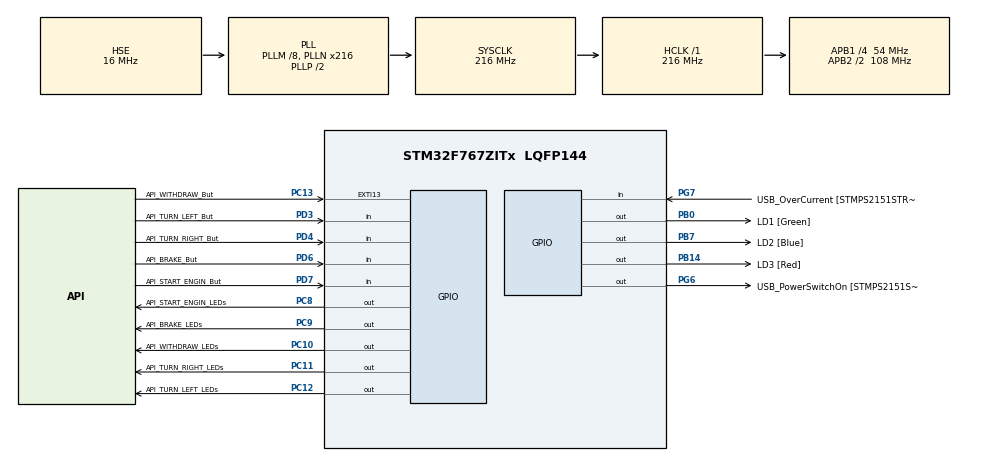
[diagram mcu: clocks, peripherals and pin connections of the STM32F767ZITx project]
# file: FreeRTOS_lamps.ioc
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FREERTOS.Tasks01=defaultTask,24,128,StartDefaultTask,Default,NULL,Dynamic,NULL,NULL;API_START_ENGIN,24,128,StartAPI_START_ENGIN,Default,NULL,Dynamic,NULL,NULL;API_BRAKE,24,128,StartAPI_BRAKE,Default,NULL,Dynamic,NULL,NULL;API_WITHDRAW,24,128,StartAPI_WITHDRAW,Default,NULL,Dynamic,NULL,NULL;API_TURN_LEFT,24,128,StartAPI_TURN_LEFT,Default,NULL,Dynamic,NULL,NULL;API_TURN_RIGHT,24,128,StartAPI_TURN_RIGHT,Default,NULL,Dynamic,NULL,NULL
FREERTOS.configUSE_NEWLIB_REENTRANT=1
Mcu.Family=STM32F7
Mcu.Name=STM32F767ZITx
Mcu.Package=LQFP144
NVIC.PriorityGroup=NVIC_PRIORITYGROUP_4
NVIC.TIM6_DAC_IRQn=true\:15\:0\:false\:false\:true\:false\:false\:true\:true
NVIC.TimeBase=TIM6_DAC_IRQn
NVIC.TimeBaseIP=TIM6
PA1.GPIO_Label=RMII_REF_CLK [LAN8742A-CZ-TR_REFCLK0]
PA1.Signal=ETH_REF_CLK
PA10.GPIO_Label=USB_ID
PA10.Signal=USB_OTG_FS_ID
PA11.GPIO_Label=USB_DM
PA11.Signal=USB_OTG_FS_DM
PA12.GPIO_Label=USB_DP
PA12.Signal=USB_OTG_FS_DP
PA13.GPIO_Label=TMS
PA13.Signal=SYS_JTMS-SWDIO
PA14.GPIO_Label=TCK
PA14.Signal=SYS_JTCK-SWCLK
PA2.GPIO_Label=RMII_MDIO [LAN8742A-CZ-TR_MDIO]
PA2.Signal=ETH_MDIO
PA7.GPIO_Label=RMII_CRS_DV [LAN8742A-CZ-TR_CRS_DV]
PA7.Signal=ETH_CRS_DV
PA8.GPIO_Label=USB_SOF [TP1]
PA8.Signal=USB_OTG_FS_SOF
PA9.GPIO_Label=USB_VBUS
PA9.Signal=USB_OTG_FS_VBUS
PB0.GPIO_Label=LD1 [Green]
PB0.Signal=GPIO_Output
PB13.GPIO_Label=RMII_TXD1 [LAN8742A-CZ-TR_TXD1]
PB13.Signal=ETH_TXD1
PB14.GPIO_Label=LD3 [Red]
PB14.Signal=GPIO_Output
PB3.GPIO_Label=SW0
PB3.Signal=SYS_JTDO-SWO
PB7.GPIO_Label=LD2 [Blue]
PB7.Signal=GPIO_Output
PC1.GPIO_Label=RMII_MDC [LAN8742A-CZ-TR_MDC]
PC1.Signal=ETH_MDC
PC10.GPIO_Label=API_WITHDRAW_LEDs
PC10.Signal=GPIO_Output
PC11.GPIO_Label=API_TURN_RIGHT_LEDs
PC11.Signal=GPIO_Output
PC12.GPIO_Label=API_TURN_LEFT_LEDs
PC12.Signal=GPIO_Output
PC13.GPIO_Label=API_WITHDRAW_But
PC13.Signal=GPXTI13
PC14/OSC32_IN.Signal=RCC_OSC32_IN
PC15/OSC32_OUT.Signal=RCC_OSC32_OUT
PC4.GPIO_Label=RMII_RXD0 [LAN8742A-CZ-TR_RXD0]
PC4.Signal=ETH_RXD0
PC5.GPIO_Label=RMII_RXD1 [LAN8742A-CZ-TR_RXD1]
PC5.Signal=ETH_RXD1
PC8.GPIO_Label=API_START_ENGIN_LEDs
PC8.Signal=GPIO_Output
PC9.GPIO_Label=API_BRAKE_LEDs
PC9.Signal=GPIO_Output
PD3.GPIO_Label=API_TURN_LEFT_But
PD3.Signal=GPIO_Input
PD4.GPIO_Label=API_TURN_RIGHT_But
PD4.Signal=GPIO_Input
PD6.GPIO_Label=API_BRAKE_But
PD6.Signal=GPIO_Input
PD7.GPIO_Label=API_START_ENGIN_But
PD7.Signal=GPIO_Input
PD8.GPIO_Label=STLK_RX [STM32F103CBT6_PA3]
PD8.Signal=USART3_TX
PD9.GPIO_Label=STLK_TX [STM32F103CBT6_PA2]
PD9.Signal=USART3_RX
PG11.GPIO_Label=RMII_TX_EN [LAN8742A-CZ-TR_TXEN]
PG11.Signal=ETH_TX_EN
PG13.GPIO_Label=RMII_TXD0 [LAN8742A-CZ-TR_TXD0]
PG13.Signal=ETH_TXD0
PG6.GPIO_Label=USB_PowerSwitchOn [STMPS2151STR_EN]
PG6.Signal=GPIO_Output
PG7.GPIO_Label=USB_OverCurrent [STMPS2151STR_FAULT]
PG7.Signal=GPIO_Input
PH0/OSC_IN.GPIO_Label=MCO [STM32F103CBT6_PA8]
PH0/OSC_IN.Mode=HSE-External-Oscillator
PH0/OSC_IN.Signal=RCC_OSC_IN
PH1/OSC_OUT.Mode=HSE-External-Oscillator
PH1/OSC_OUT.Signal=RCC_OSC_OUT
ProjectManager.HeapSize=0x200
ProjectManager.StackSize=0x400
ProjectManager.TargetToolchain=STM32CubeIDE
RCC.48MHZClocksFreq_Value=24000000
RCC.AHBFreq_Value=216000000
RCC.APB1CLKDivider=RCC_HCLK_DIV4
RCC.APB1Freq_Value=54000000
RCC.APB1TimFreq_Value=108000000
RCC.APB2CLKDivider=RCC_HCLK_DIV2
RCC.APB2Freq_Value=108000000
RCC.APB2TimFreq_Value=216000000
RCC.CortexFreq_Value=216000000
RCC.HCLKFreq_Value=216000000
RCC.HSE_VALUE=16000000
RCC.HSI_VALUE=16000000
RCC.LSE_VALUE=32768
RCC.PLLM=8
RCC.PLLMUL=RCC_PLL_MUL9
RCC.PLLN=216
RCC.PLLSourceVirtual=RCC_PLLSOURCE_HSE
RCC.PRESCALERUSB=RCC_USBCLKSOURCE_PLL_DIV1_5
RCC.SYSCLKFreq_VALUE=216000000
RCC.SYSCLKSource=RCC_SYSCLKSOURCE_PLLCLK
RCC.SYSCLKSourceVirtual=RCC_SYSCLKSOURCE_PLLCLK
RCC.USBFreq_Value=216000000
RCC.VCOOutputFreq_Value=432000000
VP_FREERTOS_VS_CMSIS_V2.Mode=CMSIS_V2
VP_SYS_VS_tim6.Mode=TIM6
board=NUCLEO-F767ZI

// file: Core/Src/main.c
/* USER CODE BEGIN Header */
/**
  ******************************************************************************
  * @file           : main.c
  * @brief          : Main program body
  ******************************************************************************
  * @attention
  *
  * Copyright (c) 2023 STMicroelectronics.
  * All rights reserved.
  *
  * This software is licensed under terms that can be found in the LICENSE file
  * in the root directory of this software component.
  * If no LICENSE file comes with this software, it is provided AS-IS.
  *
  ******************************************************************************
  */
/* USER CODE END Header */
#include "main.h"
#include "cmsis_os.h"
#include "gpio.h"

void SystemClock_Config(void);
void MX_FREERTOS_Init(void);

int main(void)
{

  /* MCU Configuration--------------------------------------------------------*/

  /* Reset of all peripherals, Initializes the Flash interface and the Systick. */
  HAL_Init();

  /* Configure the system clock */
  SystemClock_Config();

  /* Initialize all configured peripherals */
  MX_GPIO_Init();

  /* Init scheduler */
  osKernelInitialize();  /* Call init function for freertos objects (in freertos.c) */
  MX_FREERTOS_Init();

  /* Start scheduler */
  osKernelStart();

  /* We should never get here as control is now taken by the scheduler */
  /* Infinite loop */
  while (1)
  {

  }
}

void SystemClock_Config(void)
{
  RCC_OscInitTypeDef RCC_OscInitStruct = {0};
  RCC_ClkInitTypeDef RCC_ClkInitStruct = {0};

  /** Configure the main internal regulator output voltage
  */
  __HAL_RCC_PWR_CLK_ENABLE();
  __HAL_PWR_VOLTAGESCALING_CONFIG(PWR_REGULATOR_VOLTAGE_SCALE1);

  /** Initializes the RCC Oscillators according to the specified parameters
  * in the RCC_OscInitTypeDef structure.
  */
  RCC_OscInitStruct.OscillatorType = RCC_OSCILLATORTYPE_HSE;
  RCC_OscInitStruct.HSEState = RCC_HSE_ON;
  RCC_OscInitStruct.PLL.PLLState = RCC_PLL_ON;
  RCC_OscInitStruct.PLL.PLLSource = RCC_PLLSOURCE_HSE;
  RCC_OscInitStruct.PLL.PLLM = 8;
  RCC_OscInitStruct.PLL.PLLN = 216;
  RCC_OscInitStruct.PLL.PLLP = RCC_PLLP_DIV2;
  RCC_OscInitStruct.PLL.PLLQ = 2;
  RCC_OscInitStruct.PLL.PLLR = 2;
  if (HAL_RCC_OscConfig(&RCC_OscInitStruct) != HAL_OK)
  {
    Error_Handler();
  }

  /** Activate the Over-Drive mode
  */
  if (HAL_PWREx_EnableOverDrive() != HAL_OK)
  {
    Error_Handler();
  }

  /** Initializes the CPU, AHB and APB buses clocks
  */
  RCC_ClkInitStruct.ClockType = RCC_CLOCKTYPE_HCLK|RCC_CLOCKTYPE_SYSCLK
                              |RCC_CLOCKTYPE_PCLK1|RCC_CLOCKTYPE_PCLK2;
  RCC_ClkInitStruct.SYSCLKSource = RCC_SYSCLKSOURCE_PLLCLK;
  RCC_ClkInitStruct.AHBCLKDivider = RCC_SYSCLK_DIV1;
  RCC_ClkInitStruct.APB1CLKDivider = RCC_HCLK_DIV4;
  RCC_ClkInitStruct.APB2CLKDivider = RCC_HCLK_DIV2;

  if (HAL_RCC_ClockConfig(&RCC_ClkInitStruct, FLASH_LATENCY_7) != HAL_OK)
  {
    Error_Handler();
  }
}

void HAL_TIM_PeriodElapsedCallback(TIM_HandleTypeDef *htim)
{
  if (htim->Instance == TIM6) {
    HAL_IncTick();
  }
}

void Error_Handler(void)
{
  __disable_irq();
  while (1)
  {
  }
}

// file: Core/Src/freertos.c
/* USER CODE BEGIN Header */
/**
  ******************************************************************************
  * File Name          : freertos.c
  * Description        : Code for freertos applications
  ******************************************************************************
  * @attention
  *
  * Copyright (c) 2023 STMicroelectronics.
  * All rights reserved.
  *
  * This software is licensed under terms that can be found in the LICENSE file
  * in the root directory of this software component.
  * If no LICENSE file comes with this software, it is provided AS-IS.
  *
  ******************************************************************************
  */
/* USER CODE END Header */

#include "FreeRTOS.h"
#include "task.h"
#include "main.h"
#include "cmsis_os.h"

/* USER CODE BEGIN Variables */
GPIO_PinState API_START_ENGIN_ButtonStateCurrent;
GPIO_PinState API_START_ENGIN_ButtonStateLast = GPIO_PIN_RESET;

GPIO_PinState API_BRAKE_ButtonStateCurrent;
GPIO_PinState API_BRAKE_ButtonStateLast = GPIO_PIN_RESET;

GPIO_PinState API_WITHDRAW_ButtonStateCurrent;
GPIO_PinState API_WITHDRAW_ButtonStateLast = GPIO_PIN_RESET;

GPIO_PinState API_TURN_RIGHT_ButtonStateCurrent;
GPIO_PinState API_TURN_RIGHT_ButtonStateLast = GPIO_PIN_RESET;

GPIO_PinState API_TURN_LEFT_ButtonStateCurrent;
GPIO_PinState API_TURN_LEFT_ButtonStateLast = GPIO_PIN_RESET;

/* USER CODE END Variables */
/* Definitions for defaultTask */
osThreadId_t defaultTaskHandle;
const osThreadAttr_t defaultTask_attributes = {
  .name = "defaultTask",
  .stack_size = 128 * 4,
  .priority = (osPriority_t) osPriorityNormal,
};
/* Definitions for API_START_ENGIN */
osThreadId_t API_START_ENGINHandle;
const osThreadAttr_t API_START_ENGIN_attributes = {
  .name = "API_START_ENGIN",
  .stack_size = 128 * 4,
  .priority = (osPriority_t) osPriorityNormal,
};
/* Definitions for API_BRAKE */
osThreadId_t API_BRAKEHandle;
const osThreadAttr_t API_BRAKE_attributes = {
  .name = "API_BRAKE",
  .stack_size = 128 * 4,
  .priority = (osPriority_t) osPriorityNormal,
};
/* Definitions for API_WITHDRAW */
osThreadId_t API_WITHDRAWHandle;
const osThreadAttr_t API_WITHDRAW_attributes = {
  .name = "API_WITHDRAW",
  .stack_size = 128 * 4,
  .priority = (osPriority_t) osPriorityNormal,
};
/* Definitions for API_TURN_LEFT */
osThreadId_t API_TURN_LEFTHandle;
const osThreadAttr_t API_TURN_LEFT_attributes = {
  .name = "API_TURN_LEFT",
  .stack_size = 128 * 4,
  .priority = (osPriority_t) osPriorityNormal,
};
/* Definitions for API_TURN_RIGHT */
osThreadId_t API_TURN_RIGHTHandle;
const osThreadAttr_t API_TURN_RIGHT_attributes = {
  .name = "API_TURN_RIGHT",
  .stack_size = 128 * 4,
  .priority = (osPriority_t) osPriorityNormal,
};

void StartDefaultTask(void *argument);
void StartAPI_START_ENGIN(void *argument);
void StartAPI_BRAKE(void *argument);
void StartAPI_WITHDRAW(void *argument);
void StartAPI_TURN_LEFT(void *argument);
void StartAPI_TURN_RIGHT(void *argument);

void MX_FREERTOS_Init(void); /* (MISRA C 2004 rule 8.1) */

void MX_FREERTOS_Init(void) {

  /* Create the thread(s) */
  /* creation of defaultTask */
  defaultTaskHandle = osThreadNew(StartDefaultTask, NULL, &defaultTask_attributes);

  /* creation of API_START_ENGIN */
  API_START_ENGINHandle = osThreadNew(StartAPI_START_ENGIN, NULL, &API_START_ENGIN_attributes);

  /* creation of API_BRAKE */
  API_BRAKEHandle = osThreadNew(StartAPI_BRAKE, NULL, &API_BRAKE_attributes);

  /* creation of API_WITHDRAW */
  API_WITHDRAWHandle = osThreadNew(StartAPI_WITHDRAW, NULL, &API_WITHDRAW_attributes);

  /* creation of API_TURN_LEFT */
  API_TURN_LEFTHandle = osThreadNew(StartAPI_TURN_LEFT, NULL, &API_TURN_LEFT_attributes);

  /* creation of API_TURN_RIGHT */
  API_TURN_RIGHTHandle = osThreadNew(StartAPI_TURN_RIGHT, NULL, &API_TURN_RIGHT_attributes);

}

void StartDefaultTask(void *argument)
{
  for(;;)
  {
    osDelay(1);
  }
}

void StartAPI_START_ENGIN(void *argument)
{
  /* USER CODE BEGIN StartAPI_START_ENGIN */
  /* Infinite loop */
  for(;;)
  {
	  API_START_ENGIN_ButtonStateCurrent = HAL_GPIO_ReadPin(API_START_ENGIN_But_GPIO_Port, API_START_ENGIN_But_Pin);
	  if(API_START_ENGIN_ButtonStateCurrent != API_START_ENGIN_ButtonStateLast)
	  {
		  HAL_GPIO_TogglePin(API_START_ENGIN_LEDs_GPIO_Port, API_START_ENGIN_LEDs_Pin);
		  osDelay(100);
	  }
  }
  /* USER CODE END StartAPI_START_ENGIN */
}

void StartAPI_BRAKE(void *argument)
{
  /* USER CODE BEGIN StartAPI_BRAKE */
  /* Infinite loop */
  for(;;)
  {
	  API_BRAKE_ButtonStateCurrent = HAL_GPIO_ReadPin(API_BRAKE_But_GPIO_Port, API_BRAKE_But_Pin);
	  if(API_BRAKE_ButtonStateCurrent != API_BRAKE_ButtonStateLast)
	  {
		  HAL_GPIO_TogglePin(API_BRAKE_LEDs_GPIO_Port, API_BRAKE_LEDs_Pin);
		  osDelay(100);
		  API_BRAKE_ButtonStateLast = API_BRAKE_ButtonStateCurrent;
	  }
  }
  /* USER CODE END StartAPI_BRAKE */
}

void StartAPI_WITHDRAW(void *argument)
{
  /* USER CODE BEGIN StartAPI_WITHDRAW */
  /* Infinite loop */
  for(;;)
  {
	  API_WITHDRAW_ButtonStateCurrent = HAL_GPIO_ReadPin(API_WITHDRAW_But_GPIO_Port, API_WITHDRAW_But_Pin);
	  if(API_WITHDRAW_ButtonStateCurrent != API_WITHDRAW_ButtonStateLast)
	  {
		  HAL_GPIO_TogglePin(API_WITHDRAW_LEDs_GPIO_Port, API_WITHDRAW_LEDs_Pin);
		  osDelay(100);
		  API_WITHDRAW_ButtonStateLast = API_WITHDRAW_ButtonStateCurrent;
	  }
  }
  /* USER CODE END StartAPI_WITHDRAW */
}

void StartAPI_TURN_LEFT(void *argument)
{
  /* USER CODE BEGIN StartAPI_TURN_LEFT */
  /* Infinite loop */
  for(;;)
  {
	  API_TURN_LEFT_ButtonStateCurrent = HAL_GPIO_ReadPin(API_TURN_LEFT_But_GPIO_Port, API_TURN_LEFT_But_Pin);
	  if(API_TURN_LEFT_ButtonStateCurrent != API_TURN_LEFT_ButtonStateLast)
	  {
		  for(int i=0; i<6; i++)
		  {
			  HAL_GPIO_TogglePin(API_TURN_LEFT_LEDs_GPIO_Port, API_TURN_LEFT_LEDs_Pin);
			  osDelay(200);
		  }
	  }
  }
  /* USER CODE END StartAPI_TURN_LEFT */
}

void StartAPI_TURN_RIGHT(void *argument)
{
  /* USER CODE BEGIN StartAPI_TURN_RIGHT */
  /* Infinite loop */
  for(;;)
  {
	  API_TURN_RIGHT_ButtonStateCurrent = HAL_GPIO_ReadPin(API_TURN_RIGHT_But_GPIO_Port, API_TURN_RIGHT_But_Pin);
	  	  if(API_TURN_RIGHT_ButtonStateCurrent != API_TURN_RIGHT_ButtonStateLast)
	  	  {
	  		  for(int i=0; i<6; i++)
	  		  {
	  			  HAL_GPIO_TogglePin(API_TURN_RIGHT_LEDs_GPIO_Port, API_TURN_RIGHT_LEDs_Pin);
	  			  osDelay(200);
	  		  }
	  	  }
  }
  /* USER CODE END StartAPI_TURN_RIGHT */
}
